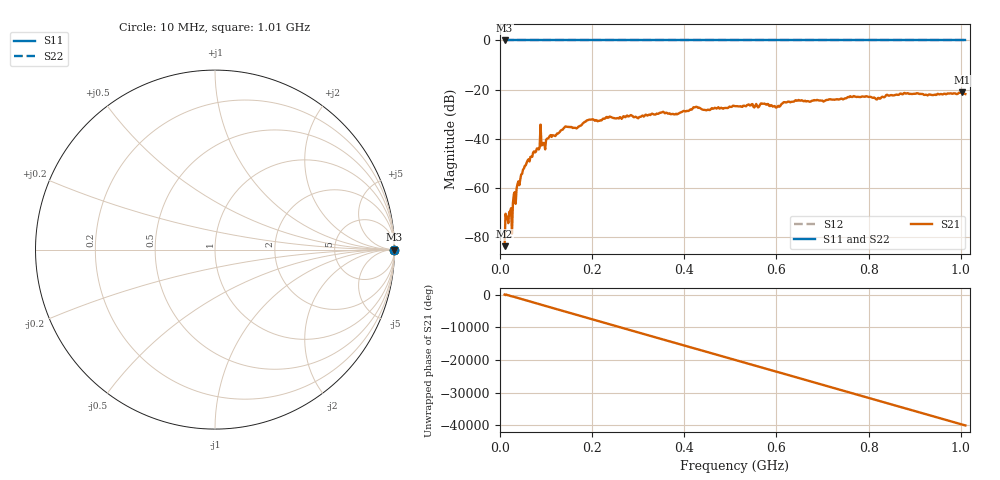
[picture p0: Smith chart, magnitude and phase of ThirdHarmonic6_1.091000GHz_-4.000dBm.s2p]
! 8/16/2025 10:08:23 AM
! C:\ANRITSUVNA\TEMP\TEMP.S2P
! CHANNEL.1
! TR.MEASUREMENT
! RAW.DATA
! RF.CORRECTION.OFF
! AVERAGING.OFF
! IF.BANDWIDTH: 5KHZ
! SWEEPTYPE:  FREQ.SWEEP(Linear)
! Reference Plane Port Info
! PORT:  PORT1  PORT2
! DISTANCE:  0  m  0  m
! TIME:  0  s  0  s
! PHASE.OFFSET:  0  deg.  0  deg.
! LOSS:  0  dB  0  dB
! REF.LOSS:  0  dB  0  dB
! REF.FREQ:  0  Hz  0  Hz
! Power Info
! POWER:  -20  dBm  -20  dBm
! EFF.POWER:  -20  dBm  -20  dBm
! SOURCE.ATTEN:  0  dB  0  dB
! TEST.ATTEN:  0  dB  0  dB
# GHZ S RI R 50.0
! FREQ.GHZ  S11RE  S11IM  S21RE  S21IM  S12RE  S12IM  S22RE  S22IM
!; PortSelection: Port_12
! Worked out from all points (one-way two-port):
!   501 points, 10 MHz to 1.01 GHz, reference 50 ohm
!   highest |S21| = -21.09 dB at 1.002 GHz (marker M1); lowest = -83.9 dB at 10 MHz (marker M2)
!   lowest |S11| = 0.0 dB at 10 MHz (marker M3)
!   |S11| at or under -10 dB: nowhere
!   |S22| runs from 0.0 to 0.0 dB; largest |S21 - S12| = 1.1
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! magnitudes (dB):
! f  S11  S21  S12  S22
! 10 MHz  0.0  -83.9  0.0  0.0
! 16 MHz  0.0  -71.8  0.0  0.0
! 22 MHz  0.0  -69.8  0.0  0.0
! 30 MHz  0.0  -62.7  0.0  0.0
! 34 MHz  0.0  -66.6  0.0  0.0
! 50 MHz  0.0  -52.6  0.0  0.0
! 82 MHz  0.0  -44.0  0.0  0.0
! 84 MHz  0.0  -44.4  0.0  0.0
! 92 MHz  0.0  -42.5  0.0  0.0
! 94 MHz  0.0  -41.8  0.0  0.0
! 106 MHz  0.0  -39.6  0.0  0.0
! 142 MHz  0.0  -35.1  0.0  0.0
! 178 MHz  0.0  -34.2  0.0  0.0
! 196 MHz  0.0  -32.2  0.0  0.0
! 344 MHz  0.0  -29.9  0.0  0.0
! 510 MHz  0.0  -26.8  0.0  0.0
! 602 MHz  0.0  -26.9  0.0  0.0
! 620 MHz  0.0  -25.3  0.0  0.0
! 678 MHz  0.0  -24.5  0.0  0.0
! 844 MHz  0.0  -22.5  0.0  0.0
! 1.002 GHz  0.0  -21.1  0.0  0.0
! 1.01 GHz  0.0  -21.8  0.0  0.0
